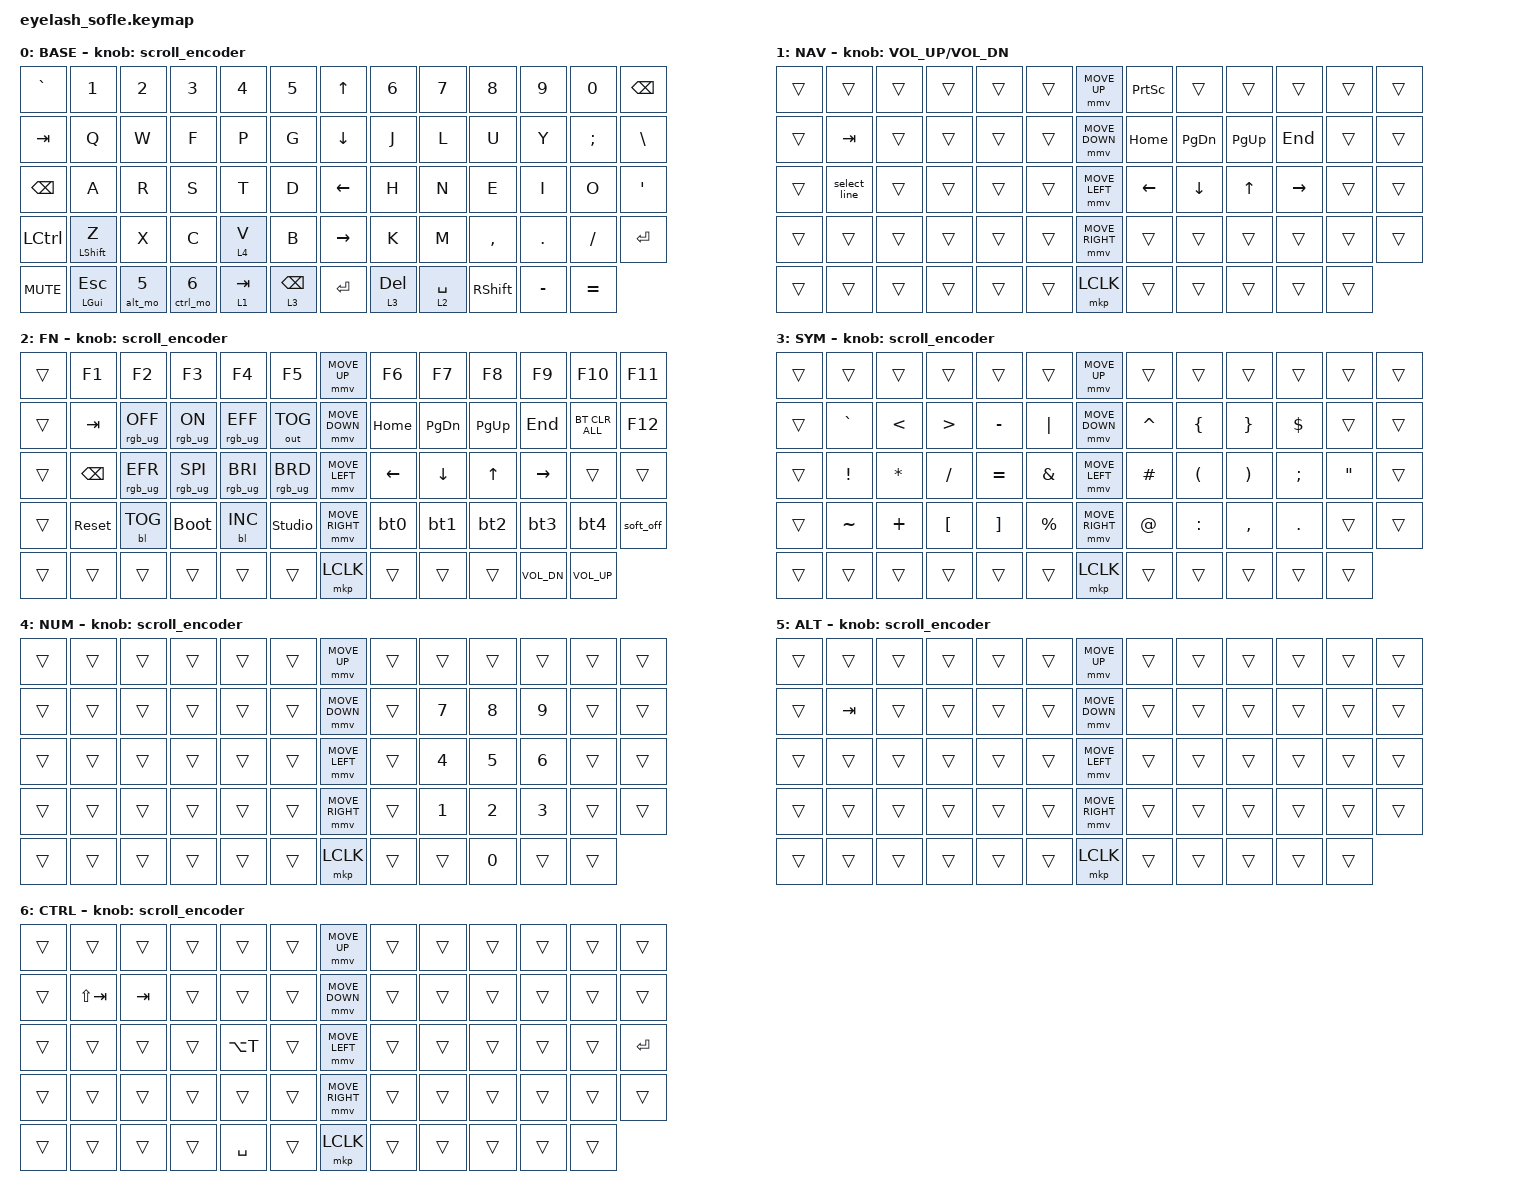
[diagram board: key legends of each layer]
#define ZMK_POINTING_DEFAULT_MOVE_VAL 1200  // 600
#define ZMK_POINTING_DEFAULT_SCRL_VAL 25    // 10

#include <input/processors.dtsi>
#include <zephyr/dt-bindings/input/input-event-codes.h>
#include <behaviors.dtsi>
#include <dt-bindings/zmk/backlight.h>
#include <dt-bindings/zmk/bt.h>
#include <dt-bindings/zmk/keys.h>
#include <dt-bindings/zmk/outputs.h>
#include <dt-bindings/zmk/pointing.h>
#include <dt-bindings/zmk/rgb.h>

&mmv_input_listener { input-processors = <&zip_xy_scaler 2 1>; };

&msc_input_listener { input-processors = <&zip_scroll_scaler 2 1>; };

&msc {
    acceleration-exponent = <1>;      // 0
    time-to-max-speed-ms = <100>;     // 300
    delay-ms = <0>;                   // 0
};

&mmv {
    time-to-max-speed-ms = <500>;
    acceleration-exponent = <1>;
    trigger-period-ms = <16>;
};

&soft_off { hold-time-ms = <2000>; };

/ {
    scroll_encoder: scroll_encoder {
        compatible = "zmk,behavior-sensor-rotate";
        #sensor-binding-cells = <0>;
        bindings = <&msc SCRL_DOWN>, <&msc SCRL_UP>;

        tap-ms = <100>;
    };

    combos {
        compatible = "zmk,combos";

        bt_sel_3 {
            bindings = <&bt3>;
            key-positions = <46 33>;
            layers = <2>;
        };

        bt_sel_4 {
            bindings = <&bt4>;
            key-positions = <33 20>;
            layers = <2>;
        };

        tab {
            bindings = <&kp TAB>;
            key-positions = <14 15>;
        };

        bs {
            bindings = <&kp BACKSPACE>;
            key-positions = <27 28>;
        };

        tilda {
            bindings = <&kp GRAVE>;
            key-positions = <1 2>;
        };

        softoff {
            bindings = <&soft_off>;
            key-positions = <14 28 40>;
        };
    };

    macros {
        bt_clr_0: bt_clr_0 {
            compatible = "zmk,behavior-macro";
            #binding-cells = <0>;
            bindings = <&bt BT_SEL 0 &bt BT_CLR>;
            label = "BT_CLR_0";
        };

        bt_clr_1: bt_clr_1 {
            compatible = "zmk,behavior-macro";
            #binding-cells = <0>;
            bindings = <&bt BT_SEL 1 &bt BT_CLR>;
            label = "BT_CLR_1";
        };

        bt_clr_2: bt_clr_2 {
            compatible = "zmk,behavior-macro";
            #binding-cells = <0>;
            bindings = <&bt BT_SEL 2 &bt BT_CLR>;
            label = "BT_CLR_2";
        };

        bt_clr_3: bt_clr_3 {
            compatible = "zmk,behavior-macro";
            #binding-cells = <0>;
            bindings = <&bt BT_SEL 3 &bt BT_CLR>;
            label = "BT_CLR_3";
        };

        bt_clr_4: bt_clr_4 {
            compatible = "zmk,behavior-macro";
            #binding-cells = <0>;
            bindings = <&bt BT_SEL 4 &bt BT_CLR>;
            label = "BT_CLR_4";
        };

        alt_mo: alt_mo {
            compatible = "zmk,behavior-macro-one-param";
            #binding-cells = <1>;
            bindings =
                <&macro_press>,
                <&kp LEFT_ALT &macro_param_1to1>,
                <&macro_press>,
                <&mo MACRO_PLACEHOLDER>,
                <&macro_pause_for_release>,
                <&macro_param_1to1>,
                <&macro_release>,
                <&mo MACRO_PLACEHOLDER>,
                <&macro_release>,
                <&kp LALT>;

            label = "ALT_MO";
        };

        ctrl_mo: ctrl_mo {
            compatible = "zmk,behavior-macro-one-param";
            #binding-cells = <1>;
            bindings =
                <&macro_press>,
                <&kp LCTRL &macro_param_1to1>,
                <&macro_press>,
                <&mo MACRO_PLACEHOLDER>,
                <&macro_pause_for_release>,
                <&macro_param_1to1>,
                <&macro_release>,
                <&mo MACRO_PLACEHOLDER>,
                <&macro_release>,
                <&kp LCTRL>;

            label = "CTRL_MO";
        };

        select_line: select_line {
            compatible = "zmk,behavior-macro";
            #binding-cells = <0>;
            bindings =
                <&macro_tap>,
                <&kp HOME>,
                <&macro_press>,
                <&kp LEFT_SHIFT>,
                <&macro_tap>,
                <&kp END>,
                <&macro_release>,
                <&kp LEFT_SHIFT>;

            label = "SELECT_LINE";
        };

        SHIFT_MCLK: SHIFT_MCLK {
            compatible = "zmk,behavior-macro";
            #binding-cells = <0>;
            bindings =
                <&macro_press>,
                <&kp LEFT_SHIFT>,
                <&macro_press>,
                <&mkp MB3>,
                <&macro_pause_for_release>,
                <&macro_release>,
                <&kp LEFT_SHIFT &mkp MB3>;

            label = "SHIFT_MCLK";
        };
    };

    behaviors {
        bt0: bt0 {
            compatible = "zmk,behavior-mod-morph";
            label = "BT0";
            bindings = <&bt BT_SEL 0>, <&bt_clr_0>;

            #binding-cells = <0>;
            mods = <(MOD_LSFT|MOD_RSFT)>;
        };

        bt1: bt1 {
            compatible = "zmk,behavior-mod-morph";
            label = "BT1";
            bindings = <&bt BT_SEL 1>, <&bt_clr_1>;

            #binding-cells = <0>;
            mods = <(MOD_LSFT|MOD_RSFT)>;
        };

        bt2: bt2 {
            compatible = "zmk,behavior-mod-morph";
            label = "BT2";
            bindings = <&bt BT_SEL 2>, <&bt_clr_2>;

            #binding-cells = <0>;
            mods = <(MOD_LSFT|MOD_RSFT)>;
        };

        bt3: bt3 {
            compatible = "zmk,behavior-mod-morph";
            label = "BT3";
            bindings = <&bt BT_SEL 3>, <&bt_clr_3>;

            #binding-cells = <0>;
            mods = <(MOD_LSFT|MOD_RSFT)>;
        };

        bt4: bt4 {
            compatible = "zmk,behavior-mod-morph";
            label = "BT4";
            bindings = <&bt BT_SEL 4>, <&bt_clr_4>;

            #binding-cells = <0>;
            mods = <(MOD_LSFT|MOD_RSFT)>;
        };

        home_row_left: home_row_left {
            compatible = "zmk,behavior-hold-tap";
            label = "HOME_ROW_LEFT";
            bindings = <&kp>, <&kp>;

            #binding-cells = <2>;
            tapping-term-ms = <150>;
            flavor = "balanced";
            quick-tap-ms = <175>;
            hold-trigger-key-positions = <7 8 9 10 11 12 20 21 22 23 24 25 33 34 35 36 37 38 46 47 48 49 50 51 59 60 61 62 63>;
            require-prior-idle-ms = <150>;
            hold-trigger-on-release;
        };

        home_row_right: home_row_right {
            compatible = "zmk,behavior-hold-tap";
            label = "HOME_ROW_RIGHT";
            bindings = <&kp>, <&kp>;

            #binding-cells = <2>;
            tapping-term-ms = <150>;
            flavor = "balanced";
            quick-tap-ms = <150>;
            hold-trigger-key-positions = <0 1 2 3 4 5 13 14 15 16 17 18 26 27 28 29 30 31 39 40 41 42 43 44 53 54 55 56 57>;
            require-prior-idle-ms = <125>;
            hold-trigger-on-release;
        };

        shift_hold_tap: shift_hold_tap {
            compatible = "zmk,behavior-hold-tap";
            label = "SHIFT_HOLD_TAP";
            bindings = <&kp>, <&kp>;

            #binding-cells = <2>;
            tapping-term-ms = <280>;
            flavor = "balanced";
            quick-tap-ms = <175>;
            require-prior-idle-ms = <150>;
            hold-trigger-on-release;
        };
    };

    keymap {
        compatible = "zmk,keymap";

        base {
            bindings = <
&kp GRAVE      &kp NUMBER_1                  &kp NUMBER_2  &kp NUMBER_3  &kp NUMBER_4  &kp NUMBER_5       &kp UP_ARROW     &kp NUMBER_6  &kp N7            &kp NUMBER_8  &kp NUMBER_9  &kp NUMBER_0  &kp BACKSPACE
&kp TAB        &kp Q                         &kp W         &kp F         &kp P         &kp G              &kp DOWN_ARROW   &kp J         &kp L             &kp U         &kp Y         &kp SEMI      &kp BACKSLASH
&kp BACKSPACE  &kp A                         &kp R         &kp S         &kp T         &kp D              &kp LEFT_ARROW   &kp H         &kp N             &kp E         &kp I         &kp O         &kp SINGLE_QUOTE
&kp LCTRL      &shift_hold_tap LEFT_SHIFT Z  &kp X         &kp C         &lt 4 V       &kp B              &kp RIGHT_ARROW  &kp K         &kp M             &kp COMMA     &kp DOT       &kp FSLH      &kp ENTER
&kp C_MUTE  &mt LEFT_GUI ESCAPE           &alt_mo 5     &ctrl_mo 6    &lt 1 TAB     &lt 3 BACKSPACE    &kp ENTER        &lt 3 DELETE  &lt 2 SPACE       &kp RIGHT_SHIFT  &kp MINUS  &kp EQUAL
            >;

            sensor-bindings = <&scroll_encoder>;
            display-name = "BASE";
        };

        nav {
            bindings = <
&trans  &trans        &trans  &trans  &trans  &trans    &mmv MOVE_UP     &kp PRINTSCREEN  &trans     &trans     &trans     &trans  &trans
&trans  &kp TAB       &trans  &trans  &trans  &trans    &mmv MOVE_DOWN   &kp HOME         &kp PG_DN  &kp PG_UP  &kp END    &trans  &trans
&trans  &select_line  &trans  &trans  &trans  &trans    &mmv MOVE_LEFT   &kp LEFT         &kp DOWN   &kp UP     &kp RIGHT  &trans  &trans
&trans  &trans        &trans  &trans  &trans  &trans    &mmv MOVE_RIGHT  &trans           &trans     &trans     &trans     &trans  &trans
&trans  &trans        &trans  &trans  &trans  &trans    &mkp LCLK        &trans           &trans     &trans     &trans     &trans
            >;

            sensor-bindings = <&inc_dec_kp C_VOLUME_UP C_VOL_DN>;
            display-name = "NAV";
        };

        fn {
            bindings = <
&trans  &kp F1         &kp F2          &kp F3           &kp F4           &kp F5            &mmv MOVE_UP     &kp F6   &kp F7      &kp F8      &kp F9        &kp F10       &kp F11
&trans  &kp TAB        &rgb_ug RGB_OFF &rgb_ug RGB_ON   &rgb_ug RGB_EFF  &out OUT_TOG      &mmv MOVE_DOWN   &kp HOME &kp PG_DN   &kp PG_UP   &kp END       &bt BT_CLR_ALL &kp F12
&trans  &kp BACKSPACE  &rgb_ug RGB_EFR &rgb_ug RGB_SPI  &rgb_ug RGB_BRI  &rgb_ug RGB_BRD   &mmv MOVE_LEFT   &kp LEFT &kp DOWN    &kp UP      &kp RIGHT     &trans        &trans
&trans  &sys_reset     &bl BL_TOG      &bootloader      &bl BL_INC       &studio_unlock    &mmv MOVE_RIGHT  &bt0     &bt1       &bt2        &bt3          &bt4          &soft_off
&trans  &trans         &trans          &trans           &trans           &trans            &mkp LCLK        &trans   &trans     &trans      &kp C_VOL_DN  &kp C_VOL_UP
            >;

            sensor-bindings = <&scroll_encoder>;
            display-name = "FN";
        };

        symbol {
            bindings = <
&trans  &trans           &trans         &trans            &trans     &trans           &mmv MOVE_UP     &trans     &trans                &trans                 &trans      &trans             &trans
&trans  &kp GRAVE        &kp LESS_THAN  &kp GREATER_THAN  &kp MINUS  &kp PIPE         &mmv MOVE_DOWN   &kp CARET  &kp LEFT_BRACE        &kp RIGHT_BRACE        &kp DOLLAR  &trans             &trans
&trans  &kp EXCLAMATION  &kp ASTRK      &kp FSLH          &kp EQUAL  &kp AMPERSAND    &mmv MOVE_LEFT   &kp POUND  &kp LEFT_PARENTHESIS  &kp RIGHT_PARENTHESIS  &kp SEMI    &kp DOUBLE_QUOTES  &trans
&trans  &kp TILDE        &kp PLUS       &kp LBKT          &kp RBKT   &kp PRCNT        &mmv MOVE_RIGHT  &kp AT     &kp COLON             &kp COMMA              &kp DOT     &trans             &trans
&trans  &trans           &trans         &trans            &trans     &trans           &mkp LCLK        &trans     &trans                &trans                 &trans      &trans
            >;

            sensor-bindings = <&scroll_encoder>;
            display-name = "SYM";
        };

        numpad {
            bindings = <
&trans  &trans  &trans  &trans  &trans  &trans    &mmv MOVE_UP     &trans  &trans  &trans  &trans  &trans  &trans
&trans  &trans  &trans  &trans  &trans  &trans    &mmv MOVE_DOWN   &trans  &kp N7  &kp N8  &kp N9  &trans  &trans
&trans  &trans  &trans  &trans  &trans  &trans    &mmv MOVE_LEFT   &trans  &kp N4  &kp N5  &kp N6  &trans  &trans
&trans  &trans  &trans  &trans  &trans  &trans    &mmv MOVE_RIGHT  &trans  &kp N1  &kp N2  &kp N3  &trans  &trans
&trans  &trans  &trans  &trans  &trans  &trans    &mkp LCLK        &trans  &trans  &kp N0  &trans  &trans
            >;

            sensor-bindings = <&scroll_encoder>;
            display-name = "NUM";
        };

        alt {
            bindings = <
&trans  &trans   &trans  &trans  &trans  &trans    &mmv MOVE_UP     &trans  &trans  &trans  &trans  &trans  &trans
&trans  &kp TAB  &trans  &trans  &trans  &trans    &mmv MOVE_DOWN   &trans  &trans  &trans  &trans  &trans  &trans
&trans  &trans   &trans  &trans  &trans  &trans    &mmv MOVE_LEFT   &trans  &trans  &trans  &trans  &trans  &trans
&trans  &trans   &trans  &trans  &trans  &trans    &mmv MOVE_RIGHT  &trans  &trans  &trans  &trans  &trans  &trans
&trans  &trans   &trans  &trans  &trans  &trans    &mkp LCLK        &trans  &trans  &trans  &trans  &trans
            >;

            sensor-bindings = <&scroll_encoder>;
            display-name = "ALT";
        };

        ctrl {
            bindings = <
&trans  &trans       &trans   &trans  &trans     &trans    &mmv MOVE_UP     &trans  &trans  &trans  &trans  &trans  &trans
&trans  &kp LS(TAB)  &kp TAB  &trans  &trans     &trans    &mmv MOVE_DOWN   &trans  &trans  &trans  &trans  &trans  &trans
&trans  &trans       &trans   &trans  &kp LA(T)  &trans    &mmv MOVE_LEFT   &trans  &trans  &trans  &trans  &trans  &kp ENTER
&trans  &trans       &trans   &trans  &trans     &trans    &mmv MOVE_RIGHT  &trans  &trans  &trans  &trans  &trans  &trans
&trans  &trans       &trans   &trans  &kp SPACE  &trans    &mkp LCLK        &trans  &trans  &trans  &trans  &trans
            >;

            sensor-bindings = <&scroll_encoder>;
            display-name = "CTRL";
        };
    };
};
